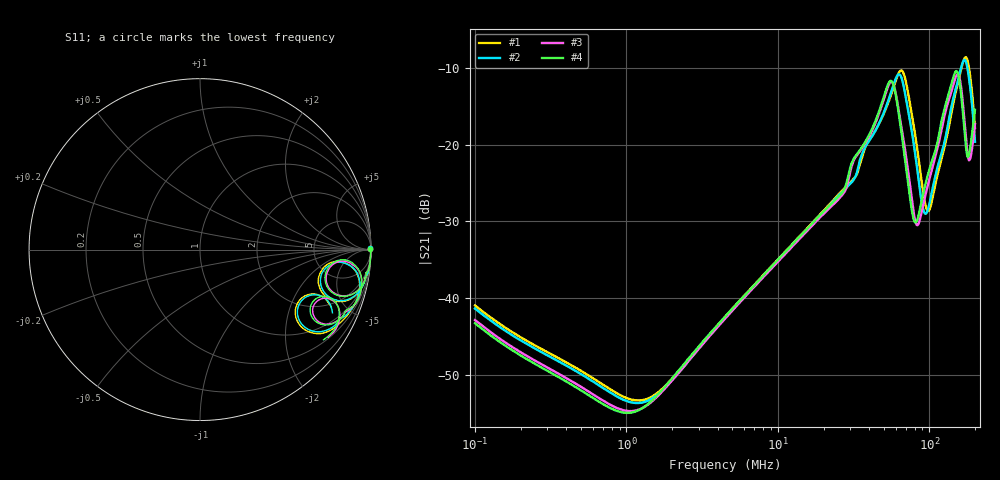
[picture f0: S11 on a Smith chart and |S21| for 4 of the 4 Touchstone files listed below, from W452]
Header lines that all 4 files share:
#  HZ  S  RI  R  50.00
! Rohde & Schwarz Vector Network Analyzer
! Rohde-Schwarz,ZNLE6-2Port,1323001256200024,1.71.1.10-23.02.1.238
! freq[Hz]  re:S11  im:S11  re:S21  im:S21  re:S12  im:S12  re:S22  im:S22
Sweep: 100 kHz to 200 MHz
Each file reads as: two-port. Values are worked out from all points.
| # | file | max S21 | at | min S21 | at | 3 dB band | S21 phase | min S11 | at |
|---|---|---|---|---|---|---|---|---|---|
| 1 | 44.s2p | -8.61 dB | 173.1 MHz | -53.4 dB | 1.228 MHz | 156.8 MHz-186.8 MHz | 78 deg at 4.472 MHz | -3.7 dB | 177.1 MHz |
| 2 | 45.s2p | -8.94 dB | 170.5 MHz | -53.7 dB | 1.192 MHz | 153.3 MHz-184 MHz | 78 deg at 4.472 MHz | -3.6 dB | 174.4 MHz |
| 3 | 49.s2p | -10.86 dB | 153.3 MHz | -54.8 dB | 1.079 MHz | 136.8 MHz-164.1 MHz | 80 deg at 4.472 MHz | -2.6 dB | 158 MHz |
| 4 | 50.s2p | -10.41 dB | 151 MHz | -55.0 dB | 1.031 MHz | 134.7 MHz-161.7 MHz | 80 deg at 4.472 MHz | -2.8 dB | 154.5 MHz |
